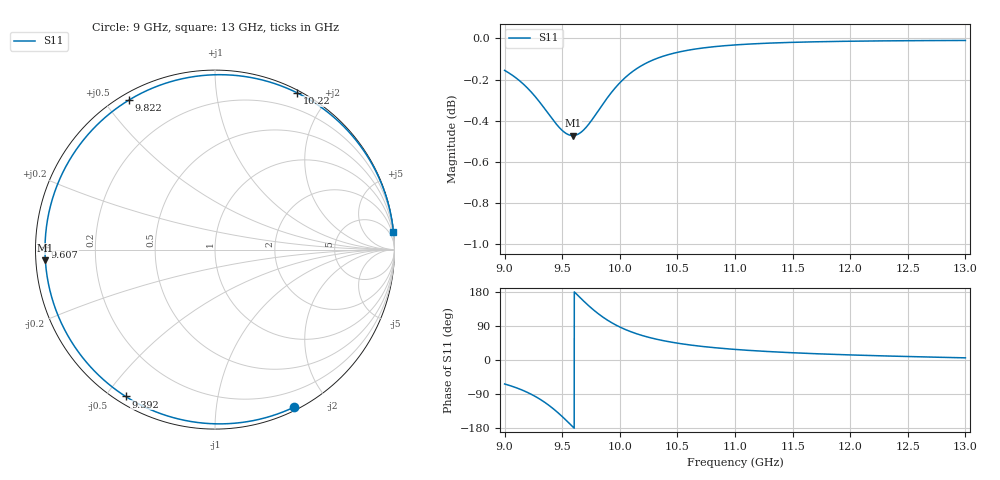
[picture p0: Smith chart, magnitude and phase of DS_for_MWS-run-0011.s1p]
! TOUCHSTONE file generated by CST DESIGN STUDIO
! Date and time: Tue Feb  4 17:56:41 2025
! Project name: C:\Work\MatlabApps\UnitCellOptimizationMatlab\CST\unitcell.cst
! Tree item: Tasks\Sweep1\SPara1\S-Parameters
! Header version: 2024
! Port assignment regex: !\s*Touchstone port\s*([0-9]+)\s*=\s*(CST MWS port|CST DES external port|CST DES block port)\s*(.+)\s* \(\"(.*)\"\)(\s*mode\s*([0-9]+))?.*
! Touchstone port assignment:
! Touchstone port 1 = CST DES external port 1 ("")
# GHz S MA R 50
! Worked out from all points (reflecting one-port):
!   4001 points, 9 GHz to 13 GHz, reference 50 ohm
!   lowest |S11| = -0.5 dB at 9.592 GHz (marker M1), VSWR 36.81, Z = 1.36 - j1.6 ohm
!   phase of S11 starts at -63 deg and turns -291 deg over the sweep
!   S11 on the Smith chart (normalised r, x): 9 GHz: 0.03, -1.62; 9.392 GHz: 0.03, -0.56; 9.607 GHz: 0.03, +0.01; 9.822 GHz: 0.03, +0.58; 10.22 GHz: 0.03, +1.65; 13 GHz: 0, +20
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9  0.9823 -63.2
9.05  0.9804 -67.9
9.12  0.9771 -75.4
9.24  0.9698 -91.8
9.321  0.9637 -106.2
9.392  0.9577 -121.3
9.446  0.9534 -134.6
9.5  0.9498 -149.2
9.548  0.9477 -163.1
9.592  0.9471 -176.3
9.607  0.9472 179.1
9.652  0.9484 165.6
9.699  0.9509 151.8
9.761  0.9557 134.9
9.822  0.9611 120.1
9.862  0.9647 111.3
9.904  0.9683 103.0
10  0.9755 87.1
10.106  0.9814 73.5
10.221  0.986 62.3
10.35  0.9895 52.8
10.5  0.9923 44.4
10.72  0.9947 35.7
11  0.9964 27.9
11.5  0.9978 19.1
12  0.9985 13.4
12.5  0.9988 9.2
13  0.9989 5.7
